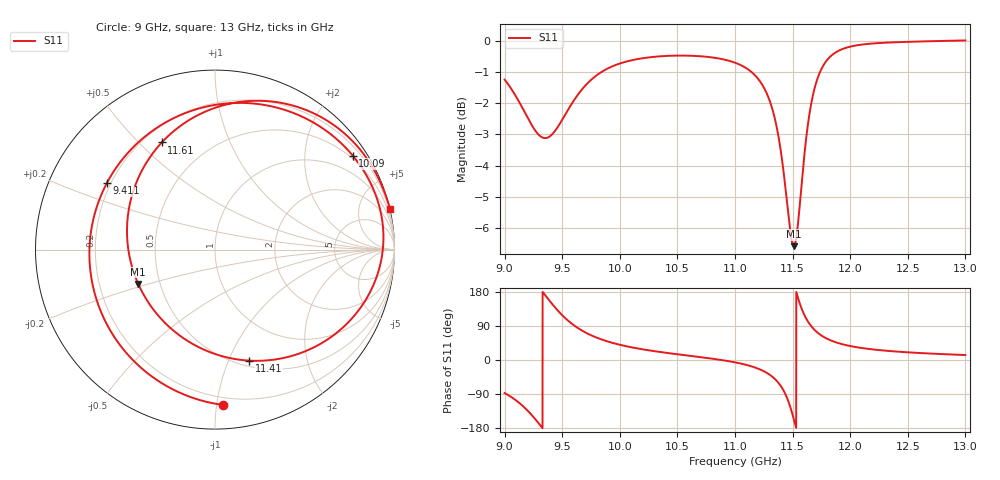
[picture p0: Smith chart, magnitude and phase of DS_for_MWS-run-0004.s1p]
! TOUCHSTONE file generated by CST DESIGN STUDIO
! Date and time: Tue Feb  4 17:51:50 2025
! Project name: C:\Work\MatlabApps\UnitCellOptimizationMatlab\CST\unitcell.cst
! Tree item: Tasks\Sweep1\SPara1\S-Parameters
! Header version: 2024
! Port assignment regex: !\s*Touchstone port\s*([0-9]+)\s*=\s*(CST MWS port|CST DES external port|CST DES block port)\s*(.+)\s* \(\"(.*)\"\)(\s*mode\s*([0-9]+))?.*
! Touchstone port assignment:
! Touchstone port 1 = CST DES external port 1 ("")
# GHz S MA R 50
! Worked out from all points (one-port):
!   4001 points, 9 GHz to 13 GHz, reference 50 ohm
!   lowest |S11| = -6.6 dB at 11.51 GHz (marker M1), VSWR 2.76, Z = 18.8 - j9.27 ohm
!   |S11| at or under -10 dB: nowhere
!   S11 on the Smith chart (normalised r, x): 9 GHz: 0.15, -1.04; 9.411 GHz: 0.18, +0.27; 10.09 GHz: 0.42, +3.20; 11.41 GHz: 0.56, -1.19; 11.61 GHz: 0.27, +0.59; 13 GHz: -0.04, +8.69
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9  0.8663 -87.1
9.099  0.8141 -106.5
9.186  0.761 -129.4
9.304  0.7045 -170.2
9.411  0.7074 148.5
9.5  0.7471 118.2
9.605  0.8041 90.9
9.741  0.8624 66.7
9.861  0.8956 52.2
10  0.9194 40.2
10.089  0.9292 34.2
10.5  0.9466 15.1
11  0.9221 -6.2
11.15  0.8887 -17.4
11.256  0.8377 -30.6
11.337  0.7617 -47.5
11.407  0.6471 -72.9
11.455  0.5427 -102.4
11.5  0.4718 -144.7
11.51  0.4686 -155.8
11.555  0.5276 155.9
11.606  0.6666 116.4
11.674  0.814 84.9
11.774  0.9174 60.2
11.871  0.957 47.1
12  0.9784 36.9
12.5  0.9959 20.2
13  1.001 13.1
